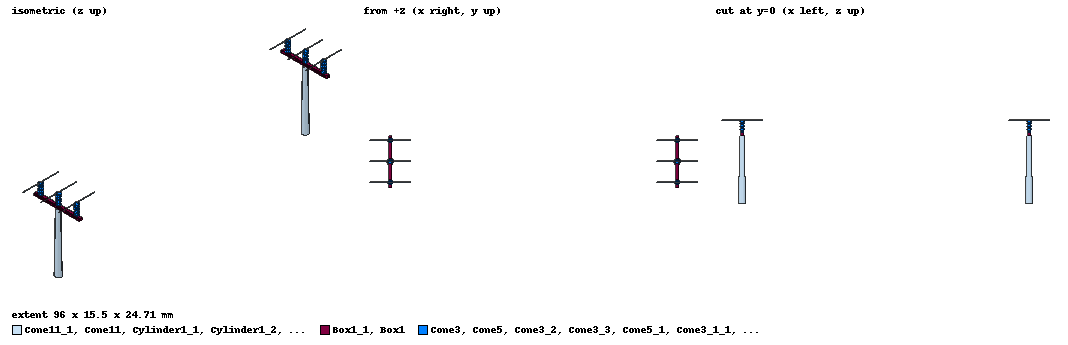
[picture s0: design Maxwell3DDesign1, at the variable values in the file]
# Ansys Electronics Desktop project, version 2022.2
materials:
  vacuum: permittivity=1

design Maxwell3DDesign1 (Maxwell 3D, Magnetostatic, model units mm)
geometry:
  Cone1 [vacuum] = cone(axis=Z, base_centre=(0mm, 0mm, 0mm), bottom_radius=0.3mm, top_radius=0.70710678mm, height=-0.3mm)
  Cone2 [vacuum] = cone(axis=Z, base_centre=(0mm, 0mm, -0.3mm), bottom_radius=0.3mm, top_radius=0.3mm, height=-0.4mm)
  Cone3 [vacuum] = cone(axis=Z, base_centre=(0mm, 0mm, -0.7mm), bottom_radius=0.3mm, top_radius=0.72801099mm, height=-0.4mm)
  Cone4 [vacuum] = cone(axis=Z, base_centre=(0mm, 0mm, -1.1mm), bottom_radius=0.3mm, top_radius=0.3mm, height=-0.4mm)
  Cone5 [vacuum] = cone(axis=Z, base_centre=(0mm, 0mm, -1.5mm), bottom_radius=0.3mm, top_radius=0.72801099mm, height=-0.4mm)
  Cone6 [vacuum] = cone(axis=Z, base_centre=(0mm, 0mm, -1.9mm), bottom_radius=0.3mm, top_radius=0.3mm, height=-0.4mm)
  Cone7 [vacuum] = cone(axis=Z, base_centre=(0mm, 0mm, -2.3mm), bottom_radius=0.3mm, top_radius=0.72801099mm, height=-0.4mm)
  Cone8 [vacuum] = cone(axis=Z, base_centre=(0mm, 0mm, -2.7mm), bottom_radius=0.3mm, top_radius=0.3mm, height=-0.4mm)
  Cone9 [vacuum] = cone(axis=Z, base_centre=(0mm, 0mm, -3.1mm), bottom_radius=0.3mm, top_radius=0.71589105mm, height=-0.4mm)
  Cone10 [vacuum] = cone(axis=Z, base_centre=(0mm, 0mm, -3.5mm), bottom_radius=0.3mm, top_radius=0.3mm, height=-0.4mm)
  Torus1 [vacuum] = torus(axis=Z, centre=(0mm, 0mm, -3.45mm), major_radius=0.65355339mm, minor_radius=0.053553391mm)
  Torus1_1, Torus1_2, Torus1_3 [vacuum] = Torus1.duplicate_along_line(step=(0mm, 0mm, 0.8mm), total=4)
  Torus1_3_1 [vacuum] = Torus1_3.duplicate_along_line(step=(0mm, 0mm, 0.8mm), total=2)
  Cylinder1 [vacuum] = cylinder(axis=X, base_centre=(6mm, 0mm, 0mm), radius=0.1118034mm, height=-12mm)
  Cone1_1, Cone1_2 [vacuum] = Cone1.duplicate_along_line(step=(0mm, -6.1118034mm, 0.4mm), total=3)
  Cone2_1, Cone2_2 [vacuum] = Cone2.duplicate_along_line(step=(0mm, -6.1118034mm, 0.4mm), total=3)
  Cone3_1, Cone3_2 [vacuum] = Cone3.duplicate_along_line(step=(0mm, -6.1118034mm, 0.4mm), total=3)
  Cone4_1, Cone4_2 [vacuum] = Cone4.duplicate_along_line(step=(0mm, -6.1118034mm, 0.4mm), total=3)
  Cone5_1, Cone5_2 [vacuum] = Cone5.duplicate_along_line(step=(0mm, -6.1118034mm, 0.4mm), total=3)
  Cone6_1, Cone6_2 [vacuum] = Cone6.duplicate_along_line(step=(0mm, -6.1118034mm, 0.4mm), total=3)
  Cone7_1, Cone7_2 [vacuum] = Cone7.duplicate_along_line(step=(0mm, -6.1118034mm, 0.4mm), total=3)
  Cone8_1, Cone8_2 [vacuum] = Cone8.duplicate_along_line(step=(0mm, -6.1118034mm, 0.4mm), total=3)
  Cone9_1, Cone9_2 [vacuum] = Cone9.duplicate_along_line(step=(0mm, -6.1118034mm, 0.4mm), total=3)
  Cone10_1, Cone10_2 [vacuum] = Cone10.duplicate_along_line(step=(0mm, -6.1118034mm, 0.4mm), total=3)
  Torus1_4, Torus1_5 [vacuum] = Torus1.duplicate_along_line(step=(0mm, -6.1118034mm, 0.4mm), total=3)
  Torus1_1_1, Torus1_1_2 [vacuum] = Torus1_1.duplicate_along_line(step=(0mm, -6.1118034mm, 0.4mm), total=3)
  Torus1_2_1, Torus1_2_2 [vacuum] = Torus1_2.duplicate_along_line(step=(0mm, -6.1118034mm, 0.4mm), total=3)
  Torus1_3_2, Torus1_3_3 [vacuum] = Torus1_3.duplicate_along_line(step=(0mm, -6.1118034mm, 0.4mm), total=3)
  Torus1_3_1_1, Torus1_3_1_2 [vacuum] = Torus1_3_1.duplicate_along_line(step=(0mm, -6.1118034mm, 0.4mm), total=3)
  Cylinder1_1, Cylinder1_2 [vacuum] = Cylinder1.duplicate_along_line(step=(0mm, -6.1118034mm, 0.4mm), total=3)
  Box1 [vacuum] = box(corner=(0.5mm, -14mm, -4mm), size=(-1mm, 15.5mm, 0.7mm))
  [Cone1_2, Cone2_2, Cone3_2, Cone4_2, Cone5_2, Cone6_2, Cone7_2, Cone8_2, Cone9_2, Cone10_2, Torus1_5, Torus1_1_2, Torus1_2_2, Torus1_3_3, Torus1_3_1_2, Cylinder1_2].move(0mm, 0.023606798mm, -0.3mm)
  [Cone8_1, Cone9_1, Cone10_1, Cone4_1, Cone7_1, Cone6_1, Cone5_1, Cone3_1, Cylinder1_1, Cone2_1, Cone1_1].move(0mm, -0.088196601mm, 0.1mm)
  [Cone10, Cone9, Cone8, Cone6, Cone7, Cone5, Cone4, Cone3, Cone2, Cone1, Cylinder1].move(0mm, 0mm, 0.6mm)
  [Torus1, Torus1_1, Torus1_2, Torus1_3, Torus1_3_1].move(0mm, 0mm, 0mm)
  [Torus1_1, Torus1, Torus1_2, Torus1_3, Torus1_3_1].move(0mm, 0mm, 0.6mm)
  [Torus1_4, Torus1_1_1, Torus1_2_1, Torus1_3_2].move(0mm, 0mm, 0.1mm)
  [Torus1_4, Torus1_1_1, Torus1_2_1, Torus1_3_2].move(0mm, -0.1mm, 0mm)
  Cone11 [vacuum] = cone(axis=Z, base_centre=(0mm, -6.2mm, -2.6mm), bottom_radius=0.7mm, top_radius=1mm, height=20mm)
  Cone11.mirror(point=(0.5mm, -6.25mm, -3.3mm), normal=(0mm, 0mm, -1mm))
  Cone1_3 [vacuum] = Cone1.duplicate_along_line(step=(84mm, 0mm, 0mm), total=5)  # copies kept: 1
  Cone2_3 [vacuum] = Cone2.duplicate_along_line(step=(84mm, 0mm, 0mm), total=5)  # copies kept: 1
  Cone3_3 [vacuum] = Cone3.duplicate_along_line(step=(84mm, 0mm, 0mm), total=5)  # copies kept: 1
  Cone4_3 [vacuum] = Cone4.duplicate_along_line(step=(84mm, 0mm, 0mm), total=5)  # copies kept: 1
  Cone5_3 [vacuum] = Cone5.duplicate_along_line(step=(84mm, 0mm, 0mm), total=5)  # copies kept: 1
  Cone6_3 [vacuum] = Cone6.duplicate_along_line(step=(84mm, 0mm, 0mm), total=5)  # copies kept: 1
  Cone7_3 [vacuum] = Cone7.duplicate_along_line(step=(84mm, 0mm, 0mm), total=5)  # copies kept: 1
  Cone8_3 [vacuum] = Cone8.duplicate_along_line(step=(84mm, 0mm, 0mm), total=5)  # copies kept: 1
  Cone9_3 [vacuum] = Cone9.duplicate_along_line(step=(84mm, 0mm, 0mm), total=5)  # copies kept: 1
  Cone10_3 [vacuum] = Cone10.duplicate_along_line(step=(84mm, 0mm, 0mm), total=5)  # copies kept: 1
  Torus1_6 [vacuum] = Torus1.duplicate_along_line(step=(84mm, 0mm, 0mm), total=5)  # copies kept: 1
  Torus1_1_3 [vacuum] = Torus1_1.duplicate_along_line(step=(84mm, 0mm, 0mm), total=5)  # copies kept: 1
  Torus1_2_3 [vacuum] = Torus1_2.duplicate_along_line(step=(84mm, 0mm, 0mm), total=5)  # copies kept: 1
  Torus1_3_4 [vacuum] = Torus1_3.duplicate_along_line(step=(84mm, 0mm, 0mm), total=5)  # copies kept: 1
  Torus1_3_1_3 [vacuum] = Torus1_3_1.duplicate_along_line(step=(84mm, 0mm, 0mm), total=5)  # copies kept: 1
  Cylinder1_3 [vacuum] = Cylinder1.duplicate_along_line(step=(84mm, 0mm, 0mm), total=5)  # copies kept: 1
  Cone1_1_1 [vacuum] = Cone1_1.duplicate_along_line(step=(84mm, 0mm, 0mm), total=5)  # copies kept: 1
  Cone1_2_1 [vacuum] = Cone1_2.duplicate_along_line(step=(84mm, 0mm, 0mm), total=5)  # copies kept: 1
  Cone2_1_1 [vacuum] = Cone2_1.duplicate_along_line(step=(84mm, 0mm, 0mm), total=5)  # copies kept: 1
  Cone2_2_1 [vacuum] = Cone2_2.duplicate_along_line(step=(84mm, 0mm, 0mm), total=5)  # copies kept: 1
  Cone3_1_1 [vacuum] = Cone3_1.duplicate_along_line(step=(84mm, 0mm, 0mm), total=5)  # copies kept: 1
  Cone3_2_1 [vacuum] = Cone3_2.duplicate_along_line(step=(84mm, 0mm, 0mm), total=5)  # copies kept: 1
  Cone4_1_1 [vacuum] = Cone4_1.duplicate_along_line(step=(84mm, 0mm, 0mm), total=5)  # copies kept: 1
  Cone4_2_1 [vacuum] = Cone4_2.duplicate_along_line(step=(84mm, 0mm, 0mm), total=5)  # copies kept: 1
  Cone5_1_1 [vacuum] = Cone5_1.duplicate_along_line(step=(84mm, 0mm, 0mm), total=5)  # copies kept: 1
  Cone5_2_1 [vacuum] = Cone5_2.duplicate_along_line(step=(84mm, 0mm, 0mm), total=5)  # copies kept: 1
  Cone6_1_1 [vacuum] = Cone6_1.duplicate_along_line(step=(84mm, 0mm, 0mm), total=5)  # copies kept: 1
  Cone6_2_1 [vacuum] = Cone6_2.duplicate_along_line(step=(84mm, 0mm, 0mm), total=5)  # copies kept: 1
  Cone7_1_1 [vacuum] = Cone7_1.duplicate_along_line(step=(84mm, 0mm, 0mm), total=5)  # copies kept: 1
  Cone7_2_1 [vacuum] = Cone7_2.duplicate_along_line(step=(84mm, 0mm, 0mm), total=5)  # copies kept: 1
  Cone8_1_1 [vacuum] = Cone8_1.duplicate_along_line(step=(84mm, 0mm, 0mm), total=5)  # copies kept: 1
  Cone8_2_1 [vacuum] = Cone8_2.duplicate_along_line(step=(84mm, 0mm, 0mm), total=5)  # copies kept: 1
  Cone9_1_1 [vacuum] = Cone9_1.duplicate_along_line(step=(84mm, 0mm, 0mm), total=5)  # copies kept: 1
  Cone9_2_1 [vacuum] = Cone9_2.duplicate_along_line(step=(84mm, 0mm, 0mm), total=5)  # copies kept: 1
  Cone10_1_1 [vacuum] = Cone10_1.duplicate_along_line(step=(84mm, 0mm, 0mm), total=5)  # copies kept: 1
  Cone10_2_1 [vacuum] = Cone10_2.duplicate_along_line(step=(84mm, 0mm, 0mm), total=5)  # copies kept: 1
  Torus1_4_1 [vacuum] = Torus1_4.duplicate_along_line(step=(84mm, 0mm, 0mm), total=5)  # copies kept: 1
  Torus1_5_1 [vacuum] = Torus1_5.duplicate_along_line(step=(84mm, 0mm, 0mm), total=5)  # copies kept: 1
  Torus1_1_1_1 [vacuum] = Torus1_1_1.duplicate_along_line(step=(84mm, 0mm, 0mm), total=5)  # copies kept: 1
  Torus1_1_2_1 [vacuum] = Torus1_1_2.duplicate_along_line(step=(84mm, 0mm, 0mm), total=5)  # copies kept: 1
  Torus1_2_1_1 [vacuum] = Torus1_2_1.duplicate_along_line(step=(84mm, 0mm, 0mm), total=5)  # copies kept: 1
  Torus1_2_2_1 [vacuum] = Torus1_2_2.duplicate_along_line(step=(84mm, 0mm, 0mm), total=5)  # copies kept: 1
  Torus1_3_2_1 [vacuum] = Torus1_3_2.duplicate_along_line(step=(84mm, 0mm, 0mm), total=5)  # copies kept: 1
  Torus1_3_3_1 [vacuum] = Torus1_3_3.duplicate_along_line(step=(84mm, 0mm, 0mm), total=5)  # copies kept: 1
  Torus1_3_1_1_1 [vacuum] = Torus1_3_1_1.duplicate_along_line(step=(84mm, 0mm, 0mm), total=5)  # copies kept: 1
  Torus1_3_1_2_1 [vacuum] = Torus1_3_1_2.duplicate_along_line(step=(84mm, 0mm, 0mm), total=5)  # copies kept: 1
  Cylinder1_1_1 [vacuum] = Cylinder1_1.duplicate_along_line(step=(84mm, 0mm, 0mm), total=5)  # copies kept: 1
  Cylinder1_2_1 [vacuum] = Cylinder1_2.duplicate_along_line(step=(84mm, 0mm, 0mm), total=5)  # copies kept: 1
  Box1_1 [vacuum] = Box1.duplicate_along_line(step=(84mm, 0mm, 0mm), total=5)  # copies kept: 1
  Cone11_1 [vacuum] = Cone11.duplicate_along_line(step=(84mm, 0mm, 0mm), total=5)  # copies kept: 1
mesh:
  initial mesh: GlobalCurvilinear{Apply}
